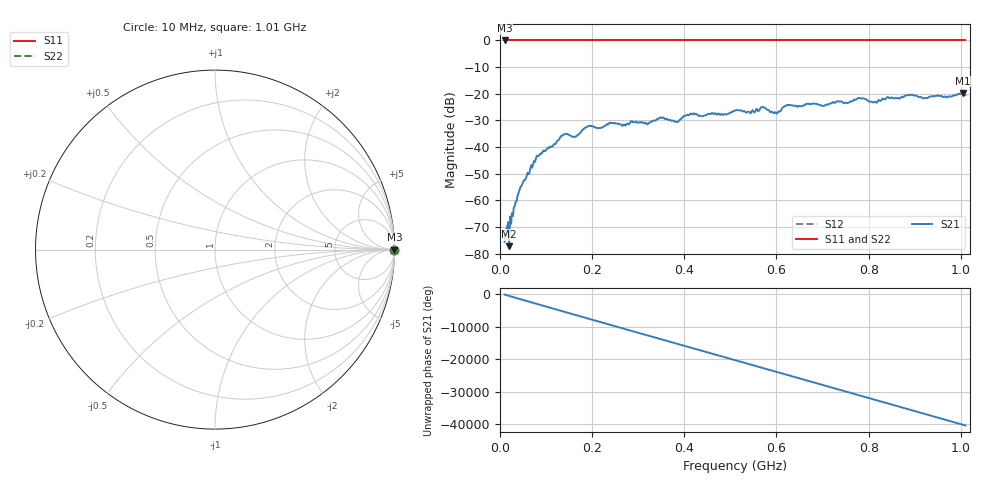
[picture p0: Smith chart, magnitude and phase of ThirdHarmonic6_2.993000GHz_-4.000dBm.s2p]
! 8/17/2025 8:32:05 AM
! C:\ANRITSUVNA\TEMP\TEMP.S2P
! CHANNEL.1
! TR.MEASUREMENT
! RAW.DATA
! RF.CORRECTION.OFF
! AVERAGING.OFF
! IF.BANDWIDTH: 5KHZ
! SWEEPTYPE:  FREQ.SWEEP(Linear)
! Reference Plane Port Info
! PORT:  PORT1  PORT2
! DISTANCE:  0  m  0  m
! TIME:  0  s  0  s
! PHASE.OFFSET:  0  deg.  0  deg.
! LOSS:  0  dB  0  dB
! REF.LOSS:  0  dB  0  dB
! REF.FREQ:  0  Hz  0  Hz
! Power Info
! POWER:  -20  dBm  -20  dBm
! EFF.POWER:  -20  dBm  -20  dBm
! SOURCE.ATTEN:  0  dB  0  dB
! TEST.ATTEN:  0  dB  0  dB
# GHZ S RI R 50.0
! FREQ.GHZ  S11RE  S11IM  S21RE  S21IM  S12RE  S12IM  S22RE  S22IM
!; PortSelection: Port_12
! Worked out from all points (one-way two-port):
!   501 points, 10 MHz to 1.01 GHz, reference 50 ohm
!   highest |S21| = -19.68 dB at 1.004 GHz (marker M1); lowest = -77.2 dB at 20 MHz (marker M2)
!   lowest |S11| = 0.0 dB at 10 MHz (marker M3)
!   |S11| at or under -10 dB: nowhere
!   |S22| runs from 0.0 to 0.0 dB; largest |S21 - S12| = 1.1
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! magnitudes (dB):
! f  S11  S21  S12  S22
! 10 MHz  0.0  -75.6  0.0  0.0
! 20 MHz  0.0  -77.2  0.0  0.0
! 42 MHz  0.0  -56.3  0.0  0.0
! 78 MHz  0.0  -44.2  0.0  0.0
! 136 MHz  0.0  -35.7  0.0  0.0
! 162 MHz  0.0  -36.3  0.0  0.0
! 178 MHz  0.0  -33.8  0.0  0.0
! 194 MHz  0.0  -32.0  0.0  0.0
! 318 MHz  0.0  -31.2  0.0  0.0
! 344 MHz  0.0  -29.4  0.0  0.0
! 384 MHz  0.0  -30.5  0.0  0.0
! 416 MHz  0.0  -27.7  0.0  0.0
! 510 MHz  0.0  -26.3  0.0  0.0
! 570 MHz  0.0  -25.0  0.0  0.0
! 598 MHz  0.0  -27.1  0.0  0.0
! 624 MHz  0.0  -24.2  0.0  0.0
! 678 MHz  0.0  -23.8  0.0  0.0
! 780 MHz  0.0  -21.6  0.0  0.0
! 814 MHz  0.0  -23.0  0.0  0.0
! 844 MHz  0.0  -21.5  0.0  0.0
! 1.004 GHz  0.0  -19.7  0.0  0.0
! 1.01 GHz  0.0  -20.4  0.0  0.0
